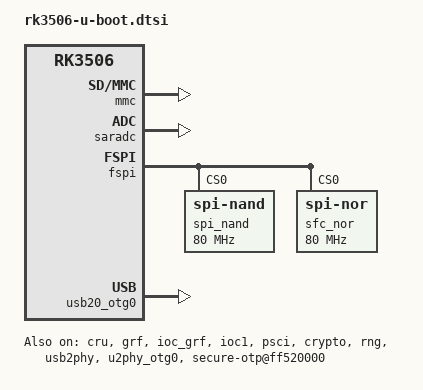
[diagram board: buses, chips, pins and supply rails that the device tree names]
/*
 * (C) Copyright 2024 Rockchip Electronics Co., Ltd
 *
 * SPDX-License-Identifier:     GPL-2.0+
 */

/ {
	aliases {
		mmc0 = &mmc;
	};

	chosen: chosen {
		stdout-path = &uart0;
		u-boot,spl-boot-order = &mmc, &spi_nand, &spi_nor;
	};

	secure-otp@ff520000 {
		compatible = "rockchip,rk3506-secure-otp";
		reg = <0xff520000 0x8000>;
		secure_conf = <0xff210100>;
		cru_rst_addr = <0xff9a8080>;
		mask_addr = <0xff528000>;
		u-boot,dm-spl;
		status = "okay";
	};
};

&mmc {
	u-boot,dm-spl;
	status = "okay";
};

&cru {
	u-boot,dm-spl;
	status = "okay";
};

&grf {
	u-boot,dm-spl;
	status = "okay";
};

&ioc_grf {
	u-boot,dm-spl;
	status = "okay";
};

&pinctrl {
	u-boot,dm-spl;
	status = "okay";
};

&ioc1 {
	u-boot,dm-spl;
	status = "okay";
};

&grf_pmu {
	u-boot,dm-spl;
	status = "okay";
};

&ioc_pmu {
	u-boot,dm-spl;
	status = "okay";
};

&gpio0 {
	u-boot,dm-spl;
	status = "okay";
};

&gpio1 {
	u-boot,dm-pre-reloc;
	status = "okay";
};

&gpio2 {
	u-boot,dm-pre-reloc;
	status = "okay";
};

&gpio3 {
	u-boot,dm-spl;
	status = "okay";
};

&gpio4 {
	u-boot,dm-pre-reloc;
	status = "okay";
};

&psci {
	u-boot,dm-pre-reloc;
	status = "okay";
};

&crypto {
	u-boot,dm-spl;
	status = "okay";
};

&rng {
	u-boot,dm-spl;
	status = "okay";
};

&saradc {
	u-boot,dm-spl;
	status = "okay";
};

&fspi {
	u-boot,dm-spl;
	status = "okay";

	#address-cells = <1>;
	#size-cells = <0>;
	spi_nand: flash@0 {
		u-boot,dm-spl;
		compatible = "spi-nand";
		reg = <0>;
		spi-tx-bus-width = <1>;
		spi-rx-bus-width = <4>;
		spi-max-frequency = <80000000>;
	};

	spi_nor: flash@1 {
		u-boot,dm-spl;
		compatible = "jedec,spi-nor";
		label = "sfc_nor";
		reg = <0>;
		spi-tx-bus-width = <1>;
		spi-rx-bus-width = <4>;
		spi-max-frequency = <80000000>;
	};
};

&usb2phy {
	u-boot,dm-pre-reloc;
	status = "okay";
};

&u2phy_otg0 {
	u-boot,dm-pre-reloc;
	status = "okay";
};

&usb20_otg0 {
	u-boot,dm-pre-reloc;
	status = "okay";
};
